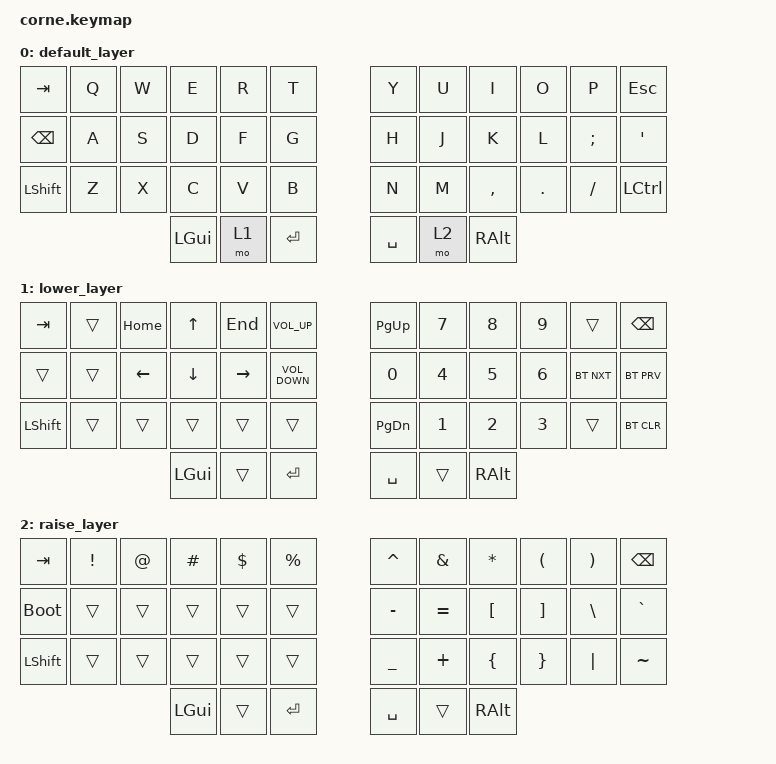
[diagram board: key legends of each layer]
/*
 * Copyright (c) 2020 The ZMK Contributors
 *
 * SPDX-License-Identifier: MIT
 */

#include <behaviors.dtsi>
#include <dt-bindings/zmk/bt.h>
#include <dt-bindings/zmk/keys.h>

/ {
    keymap {
        compatible = "zmk,keymap";

        default_layer {
            // -----------------------------------------------------------------------------------------
            // |  TAB |  Q  |  W  |  E  |  R  |  T  |   |  Y  |  U   |  I  |  O  |  P  | BKSP |
            // | CTRL |  A  |  S  |  D  |  F  |  G  |   |  H  |  J   |  K  |  L  |  ;  |  '   |
            // | SHFT |  Z  |  X  |  C  |  V  |  B  |   |  N  |  M   |  ,  |  .  |  /  | ESC  |
            //                    | GUI | LWR | SPC |   | ENT | RSE  | ALT |

            bindings = <
&kp TAB        &kp Q  &kp W  &kp E     &kp R  &kp T        &kp Y      &kp U  &kp I      &kp O    &kp P     &kp ESCAPE
&kp BACKSPACE  &kp A  &kp S  &kp D     &kp F  &kp G        &kp H      &kp J  &kp K      &kp L    &kp SEMI  &kp SQT
&kp LSHFT      &kp Z  &kp X  &kp C     &kp V  &kp B        &kp N      &kp M  &kp COMMA  &kp DOT  &kp FSLH  &kp LEFT_CONTROL
                             &kp LGUI  &mo 1  &kp ENTER    &kp SPACE  &mo 2  &kp RALT
            >;
        };

        lower_layer {
            // -----------------------------------------------------------------------------------------
            // |  TAB |  1  |  2  |  3  |  4  |  5  |   |  6  |  7  |  8  |  9  |  0  | BKSP |
            // | BTCLR| BT1 | BT2 | BT3 | BT4 | BT5 |   | LFT | DWN |  UP | RGT |     |      |
            // | SHFT |     |     |     |     |     |   |     |     |     |     |     |      |
            //                    | GUI |     | SPC |   | ENT |     | ALT |

            bindings = <
&kp TAB    &trans  &kp HOME        &kp UP_ARROW    &kp END          &kp K_VOLUME_UP      &kp PAGE_UP    &kp N7        &kp N8        &kp N9        &trans      &kp BSPC
&trans     &trans  &kp LEFT_ARROW  &kp DOWN_ARROW  &kp RIGHT_ARROW  &kp K_VOLUME_DOWN    &kp N0         &kp NUMBER_4  &kp N5        &kp NUMBER_6  &bt BT_NXT  &bt BT_PRV
&kp LSHFT  &trans  &trans          &trans          &trans           &trans               &kp PAGE_DOWN  &kp NUMBER_1  &kp NUMBER_2  &kp NUMBER_3  &trans      &bt BT_CLR
                                   &kp LGUI        &trans           &kp ENTER            &kp SPACE      &trans        &kp RALT
            >;
        };

        raise_layer {
            // -----------------------------------------------------------------------------------------
            // |  TAB |  !  |  @  |  #  |  $  |  %  |   |  ^  |  &  |  *  |  (  |  )  | BKSP |
            // | CTRL |     |     |     |     |     |   |  -  |  =  |  [  |  ]  |  \  |  `   |
            // | SHFT |     |     |     |     |     |   |  _  |  +  |  {  |  }  | "|" |  ~   |
            //                    | GUI |     | SPC |   | ENT |     | ALT |

            bindings = <
&kp TAB      &kp EXCL  &kp AT  &kp HASH  &kp DLLR  &kp PRCNT    &kp CARET  &kp AMPS   &kp ASTRK  &kp LPAR  &kp RPAR  &kp BSPC
&bootloader  &trans    &trans  &trans    &trans    &trans       &kp MINUS  &kp EQUAL  &kp LBKT   &kp RBKT  &kp BSLH  &kp GRAVE
&kp LSHFT    &trans    &trans  &trans    &trans    &trans       &kp UNDER  &kp PLUS   &kp LBRC   &kp RBRC  &kp PIPE  &kp TILDE
                               &kp LGUI  &trans    &kp ENTER    &kp SPACE  &trans     &kp RALT
            >;
        };
    };
};
